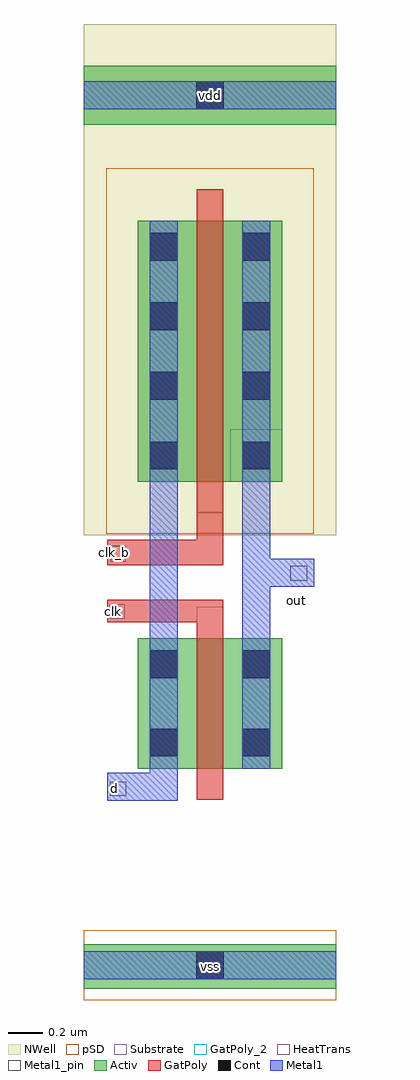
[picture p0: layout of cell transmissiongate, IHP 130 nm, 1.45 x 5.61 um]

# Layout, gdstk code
from math import pi, radians
import gdstk
lib = gdstk.Library(unit=1e-6, precision=5e-09)
def R(c, l, rs):  # rectangles x0, y0, x1, y1
    for r in rs: c.add(gdstk.rectangle(r[:2], r[2:], *l))
def A(c, l, x, y, w, h, nx, ny, dx, dy):  # array of equal rectangles
    R(c, l, [(x+i*dx, y+j*dy, x+i*dx+w, y+j*dy+h) for i in range(nx) for j in range(ny)])
Activ = (1, 0)
GatPoly = (5, 0)
GatPoly_2 = (5, 2)
Cont = (6, 0)
Metal1 = (8, 0)
Metal1_pin = (8, 2)
pSD = (14, 0)
NWell = (31, 0)
Substrate = (40, 0)
HeatTrans = (51, 0)

pmos_1 = lib.new_cell('pmos$1')
R(pmos_1, Activ, [(0,0,0.3,0.3), (0,0,0.83,1.5), (0.53,0,0.83,0.3)])
R(pmos_1, GatPoly, [(0.34,-0.18,0.49,1.68), (0.34,-0.18,0.49,1.68)])
A(pmos_1, Cont, 0.07, 0.07, 0.16, 0.16, 1, 4, 0, 0.4)
A(pmos_1, Cont, 0.6, 0.07, 0.16, 0.16, 1, 4, 0, 0.4)
R(pmos_1, Metal1, [(0.07,0,0.23,1.5), (0.07,0,0.23,1.5), (0.6,0,0.76,1.5), (0.6,0,0.76,1.5)])
R(pmos_1, pSD, [(-0.18,-0.3,1.01,1.8)])
R(pmos_1, NWell, [(-0.31,-0.31,1.14,1.81)])
R(pmos_1, Substrate, [(0.53,0,0.83,0.3)])
R(pmos_1, HeatTrans, [(0.34,-0.18,0.49,1.68)])
pmos_1.add(gdstk.Label('pmos', (0.415,0.75), layer=63, texttype=0))
pmos_1.add(gdstk.Label('pmos', (0.415,0.75), layer=51, texttype=0))

nmos_1 = lib.new_cell('nmos$1')
R(nmos_1, Activ, [(0,0,0.3,0.3), (0,0,0.83,0.75), (0.53,0,0.83,0.3)])
R(nmos_1, GatPoly, [(0.34,-0.18,0.49,0.93)])
R(nmos_1, GatPoly_2, [(0.34,-0.18,0.49,0.93)])
R(nmos_1, Cont, [(0.07,0.07,0.23,0.23), (0.6,0.07,0.76,0.23), (0.07,0.52,0.23,0.68), (0.6,0.52,0.76,0.68)])
R(nmos_1, Metal1, [(0.07,0,0.23,0.75), (0.6,0,0.76,0.75)])
R(nmos_1, Metal1_pin, [(0.07,0,0.23,0.75), (0.6,0,0.76,0.75)])
R(nmos_1, HeatTrans, [(0.34,-0.18,0.49,0.93)])
nmos_1.add(gdstk.Label('nmos', (0.415,0.375), layer=63, texttype=0))
nmos_1.add(gdstk.Label('nmos', (0.415,0.375), layer=51, texttype=0))

transmissiongate = lib.new_cell('transmissiongate')
R(transmissiongate, Activ, [(-0.85,-2.74,0.6,-2.485), (-0.85,2.225,0.6,2.565)])
R(transmissiongate, GatPoly, [(-0.715,-0.635,-0.05,-0.505), (-0.715,-0.305,-0.05,-0.16), (-0.2,-0.18,-0.05,0.095)])
R(transmissiongate, GatPoly_2, [(-0.7,-0.615,-0.615,-0.53), (-0.695,-0.285,-0.61,-0.195)])
R(transmissiongate, Cont, [(-0.205,-2.685,-0.045,-2.525), (-0.205,2.315,-0.045,2.475)])
R(transmissiongate, Metal1, [(-0.85,-2.685,0.6,-2.525), (-0.715,-1.66,-0.31,-1.5), (-0.47,-1.51,-0.31,0.4), (0.06,-1.26,0.22,0.41), (0.06,-0.43,0.475,-0.27), (-0.85,2.315,0.6,2.475)])
R(transmissiongate, Metal1_pin, [(-0.85,-2.685,0.6,-2.525), (-0.7,-1.63,-0.605,-1.55), (0.335,-0.395,0.435,-0.31), (-0.85,2.315,0.6,2.475)])
R(transmissiongate, pSD, [(-0.85,-2.805,0.6,-2.405)])
R(transmissiongate, NWell, [(-0.85,1.985,0.6,2.805)])
transmissiongate.add(gdstk.Reference(pmos_1, (-0.54,0.175)))
transmissiongate.add(gdstk.Reference(nmos_1, (0.29,-0.725), rotation=pi))
transmissiongate.add(gdstk.Label('vss', (-0.125,-2.615), layer=8, texttype=2))
transmissiongate.add(gdstk.Label('d', (-0.675,-1.59), layer=8, texttype=2))
transmissiongate.add(gdstk.Label('out', (0.37,-0.51), layer=8, texttype=2))
transmissiongate.add(gdstk.Label('clk', (-0.68,-0.57), layer=5, texttype=2))
transmissiongate.add(gdstk.Label('clk_b', (-0.675,-0.23), layer=5, texttype=2))
transmissiongate.add(gdstk.Label('vdd', (-0.125,2.395), layer=6, texttype=0))

lib.write_gds('transmissiongate.gds')
